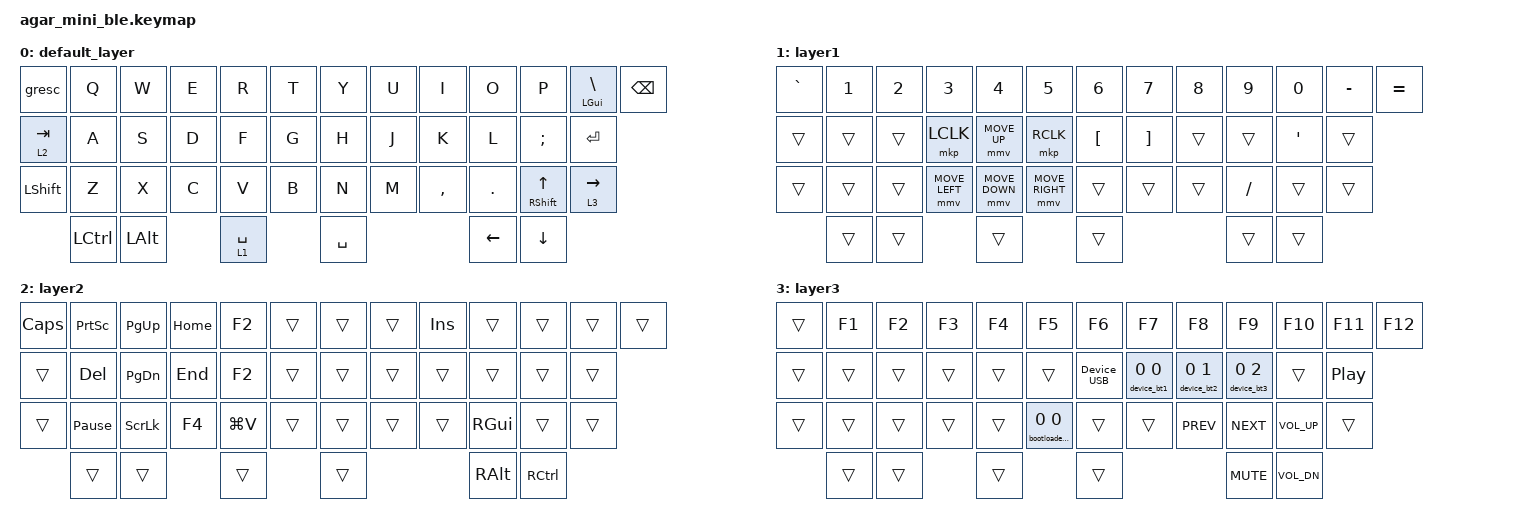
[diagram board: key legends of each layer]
#include "./common/common.keymap"

/ {
    keymap {
        compatible = "zmk,keymap";

        default_layer {
            bindings = <
&gresc     &kp Q      &kp W     &kp E  &kp R        &kp T  &kp Y      &kp U  &kp I      &kp O           &kp P                &mt_tp LGUI BACKSLASH  &kp BSPC
&lt_hp 2 TAB  &kp A      &kp S     &kp D  &kp F        &kp G  &kp H      &kp J  &kp K      &kp L           &kp SEMI             &kp RET
&kp LSHFT  &kp Z      &kp X     &kp C  &kp V        &kp B  &kp N      &kp M  &kp COMMA  &kp DOT         &mt RSHIFT UP_ARROW  &lt_hp 3 RIGHT_ARROW
           &kp LCTRL  &kp LALT         &lt 1 SPACE         &kp SPACE                    &kp LEFT_ARROW  &kp DOWN_ARROW
            >;
        };

        layer1 {
            bindings = <
&kp GRAVE  &kp N1  &kp N2  &kp N3          &kp N4          &kp N5           &kp N6            &kp N7             &kp N8  &kp N9     &kp N0            &kp MINUS  &kp EQUAL
&trans     &trans  &trans  &mkp LCLK       &mmv MOVE_UP    &mkp RCLK        &kp LEFT_BRACKET  &kp RIGHT_BRACKET  &trans  &trans     &kp SINGLE_QUOTE  &trans
&trans     &trans  &trans  &mmv MOVE_LEFT  &mmv MOVE_DOWN  &mmv MOVE_RIGHT  &trans            &trans             &trans  &kp SLASH  &trans            &trans
           &trans  &trans                  &trans                           &trans                                       &trans     &trans
            >;
        };

        layer2 {
            bindings = <
&kp CAPSLOCK  &kp PRINTSCREEN  &kp PAGE_UP     &kp HOME  &kp F2     &trans  &trans  &trans  &kp INSERT  &trans    &trans     &trans  &trans
&trans        &kp DELETE       &kp PAGE_DOWN   &kp END   &kp F2     &trans  &trans  &trans  &trans      &trans    &trans     &trans
&trans        &kp PAUSE_BREAK  &kp SCROLLLOCK  &kp F4    &kp LG(V)  &trans  &trans  &trans  &trans      &kp RGUI  &trans     &trans
              &trans           &trans                    &trans             &trans                      &kp RALT  &kp RCTRL
            >;
        };

        layer3 {
            bindings = <
&trans  &kp F1  &kp F2  &kp F3  &kp F4  &kp F5  &kp F6  &kp F7  &kp F8      &kp F9      &kp F10       &kp F11           &kp F12
&trans  &trans  &trans  &trans  &trans  &trans  &Device_USB  &device_bt1 0 0  &device_bt2 0 1  &device_bt3 0 2  &trans   &kp C_PLAY_PAUSE
&trans  &trans  &trans  &trans  &trans  &bootloader_reset 0 0 &trans  &trans  &kp C_PREV  &kp C_NEXT  &kp C_VOL_UP  &trans
        &trans  &trans          &trans          &trans                      &kp C_MUTE  &kp C_VOL_DN
            >;
        };

        layer4 { status = "reserved"; };
        layer5 { status = "reserved"; };
        layer6 { status = "reserved"; };
        layer7 { status = "reserved"; };

    };
};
